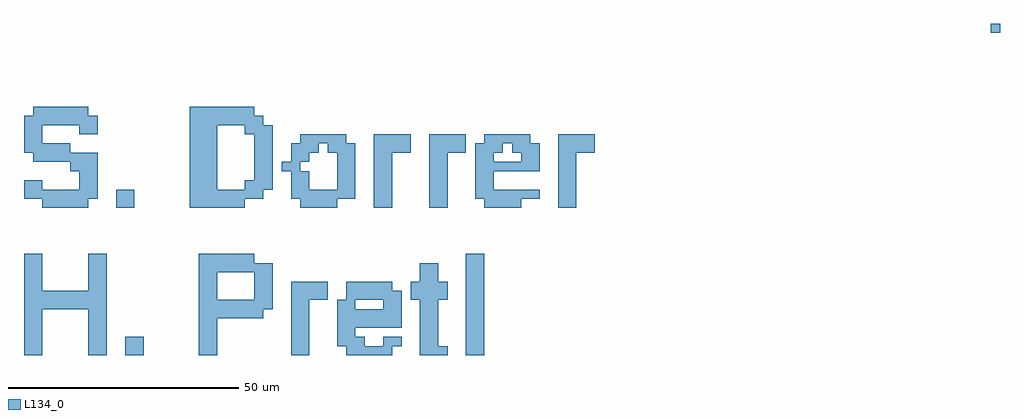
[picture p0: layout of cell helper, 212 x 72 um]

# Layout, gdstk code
import gdstk
lib = gdstk.Library(unit=1e-6, precision=1e-09)
def R(c, l, rs):  # rectangles x0, y0, x1, y1
    for r in rs: c.add(gdstk.rectangle(r[:2], r[2:], *l))
def P(c, l, *ps):  # polygons
    for p in ps: c.add(gdstk.Polygon(p, *l))
L134_0 = (134, 0)

helper = lib.new_cell('helper')
R(helper, L134_0, [(24,18,28,22), (98,18,102,40), (22,50,26,54), (212,88,214,90)])
P(helper, L134_0, [(60,18),(60,34),(68,34),(68,30),(64,30),(64,18)],
  [(72,18),(72,20),(70,20),(70,30),(74,30),(74,28),(80,28),(80,30),(72,30),(72,34),(82,34),(82,32),(84,32),(84,24),(74,24),(74,22),(76,22),(76,20),(80,20),(80,22),(84,22),(84,20),(82,20),(82,18)],
  [(88,18),(88,30),(86,30),(86,34),(88,34),(88,38),(92,38),(92,34),(94,34),(94,30),(92,30),(92,20),(94,20),(94,18)],
  [(2,18),(2,40),(6,40),(6,32),(16,32),(16,40),(20,40),(20,18),(16,18),(16,28),(6,28),(6,18)],
  [(40,18),(40,36),(44,36),(44,30),(52,30),(52,36),(40,36),(40,40),(52,40),(52,38),(56,38),(56,28),(54,28),(54,26),(44,26),(44,18)],
  [(62,50),(62,52),(60,52),(60,58),(58,58),(58,60),(60,60),(60,64),(66,64),(66,62),(64,62),(64,60),(62,60),(62,58),(64,58),(64,54),(70,54),(70,62),(68,62),(68,64),(62,64),(62,66),(72,66),(72,64),(74,64),(74,52),(70,52),(70,50)],
  [(78,50),(78,66),(86,66),(86,62),(82,62),(82,50)],
  [(90,50),(90,66),(98,66),(98,62),(94,62),(94,50)],
  [(102,50),(102,52),(100,52),(100,64),(106,64),(106,62),(104,62),(104,60),(110,60),(110,62),(108,62),(108,64),(102,64),(102,66),(112,66),(112,64),(114,64),(114,58),(104,58),(104,54),(114,54),(114,52),(110,52),(110,50)],
  [(118,50),(118,66),(126,66),(126,62),(122,62),(122,50)],
  [(6,50),(6,52),(2,52),(2,56),(6,56),(6,54),(14,54),(14,58),(12,58),(12,60),(4,60),(4,62),(2,62),(2,70),(4,70),(4,72),(16,72),(16,70),(18,70),(18,66),(14,66),(14,68),(6,68),(6,64),(12,64),(12,62),(18,62),(18,52),(16,52),(16,50)],
  [(38,50),(38,68),(44,68),(44,54),(50,54),(50,56),(52,56),(52,66),(50,66),(50,68),(38,68),(38,72),(52,72),(52,70),(54,70),(54,68),(56,68),(56,54),(54,54),(54,52),(50,52),(50,50)])

lib.write_gds('helper.gds')
